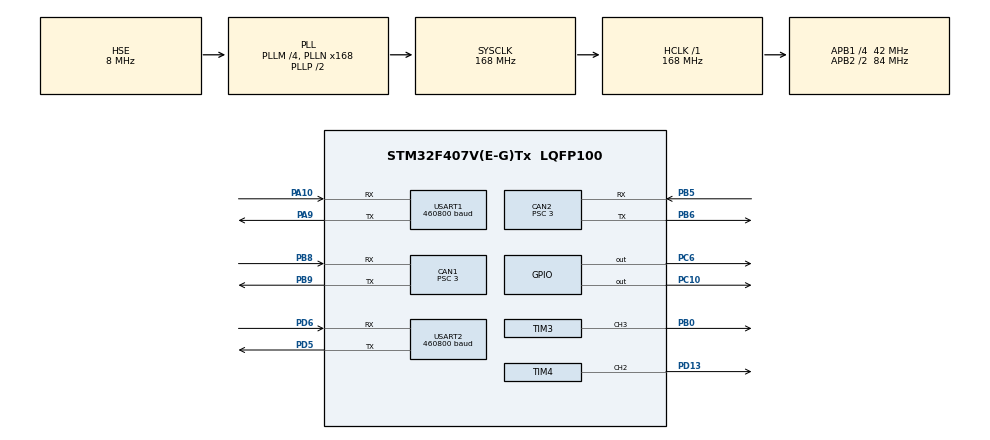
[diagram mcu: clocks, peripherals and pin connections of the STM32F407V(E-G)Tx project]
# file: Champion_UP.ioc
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CAN1.BS1=CAN_BS1_9TQ
CAN1.BS2=CAN_BS2_4TQ
CAN1.CalculateBaudRate=1000000
CAN1.CalculateTimeBit=1000
CAN1.CalculateTimeQuantum=71.42857142857143
CAN1.Prescaler=3
CAN2.BS1=CAN_BS1_9TQ
CAN2.BS2=CAN_BS2_4TQ
CAN2.CalculateBaudRate=1000000
CAN2.CalculateTimeBit=1000
CAN2.CalculateTimeQuantum=71.42857142857143
CAN2.Prescaler=3
Dma.Request0=USART1_RX
Dma.Request1=USART1_TX
Dma.Request2=USART2_RX
Dma.Request3=USART2_TX
Dma.USART1_RX.0.Direction=DMA_PERIPH_TO_MEMORY
Dma.USART1_RX.0.FIFOMode=DMA_FIFOMODE_DISABLE
Dma.USART1_RX.0.Instance=DMA2_Stream2
Dma.USART1_RX.0.MemDataAlignment=DMA_MDATAALIGN_BYTE
Dma.USART1_RX.0.MemInc=DMA_MINC_ENABLE
Dma.USART1_RX.0.Mode=DMA_NORMAL
Dma.USART1_RX.0.PeriphDataAlignment=DMA_PDATAALIGN_BYTE
Dma.USART1_RX.0.PeriphInc=DMA_PINC_DISABLE
Dma.USART1_RX.0.Priority=DMA_PRIORITY_LOW
Dma.USART1_TX.1.Direction=DMA_MEMORY_TO_PERIPH
Dma.USART1_TX.1.FIFOMode=DMA_FIFOMODE_DISABLE
Dma.USART1_TX.1.Instance=DMA2_Stream7
Dma.USART1_TX.1.MemDataAlignment=DMA_MDATAALIGN_BYTE
Dma.USART1_TX.1.MemInc=DMA_MINC_ENABLE
Dma.USART1_TX.1.Mode=DMA_NORMAL
Dma.USART1_TX.1.PeriphDataAlignment=DMA_PDATAALIGN_BYTE
Dma.USART1_TX.1.PeriphInc=DMA_PINC_DISABLE
Dma.USART1_TX.1.Priority=DMA_PRIORITY_LOW
Dma.USART2_RX.2.Direction=DMA_PERIPH_TO_MEMORY
Dma.USART2_RX.2.FIFOMode=DMA_FIFOMODE_DISABLE
Dma.USART2_RX.2.Instance=DMA1_Stream5
Dma.USART2_RX.2.MemDataAlignment=DMA_MDATAALIGN_BYTE
Dma.USART2_RX.2.MemInc=DMA_MINC_ENABLE
Dma.USART2_RX.2.Mode=DMA_NORMAL
Dma.USART2_RX.2.PeriphDataAlignment=DMA_PDATAALIGN_BYTE
Dma.USART2_RX.2.PeriphInc=DMA_PINC_DISABLE
Dma.USART2_RX.2.Priority=DMA_PRIORITY_LOW
Dma.USART2_TX.3.Direction=DMA_MEMORY_TO_PERIPH
Dma.USART2_TX.3.FIFOMode=DMA_FIFOMODE_DISABLE
Dma.USART2_TX.3.Instance=DMA1_Stream6
Dma.USART2_TX.3.MemDataAlignment=DMA_MDATAALIGN_BYTE
Dma.USART2_TX.3.MemInc=DMA_MINC_ENABLE
Dma.USART2_TX.3.Mode=DMA_NORMAL
Dma.USART2_TX.3.PeriphDataAlignment=DMA_PDATAALIGN_BYTE
Dma.USART2_TX.3.PeriphInc=DMA_PINC_DISABLE
Dma.USART2_TX.3.Priority=DMA_PRIORITY_LOW
FREERTOS.Tasks01=defaultTask,0,128,StartDefaultTask,Default,NULL,Dynamic,NULL,NULL;logic,-3,128,Logic_Task,Default,NULL,Dynamic,NULL,NULL;control,-3,128,Control_Task,Default,NULL,Dynamic,NULL,NULL;monitor,-3,128,Monitor_Task,Default,NULL,Dynamic,NULL,NULL;usartRX,-3,128,Rx_Task,Default,NULL,Dynamic,NULL,NULL;usartTX,-3,128,Tx_Task,Default,NULL,Dynamic,NULL,NULL
Mcu.Family=STM32F4
Mcu.Name=STM32F407V(E-G)Tx
Mcu.Package=LQFP100
NVIC.CAN1_RX0_IRQn=true\:5\:0\:false\:false\:true\:true\:true\:true\:true
NVIC.CAN2_RX0_IRQn=true\:5\:0\:false\:false\:true\:true\:true\:true\:true
NVIC.DMA1_Stream5_IRQn=true\:5\:0\:false\:false\:true\:true\:false\:true\:true
NVIC.DMA1_Stream6_IRQn=true\:5\:0\:false\:false\:true\:true\:false\:true\:true
NVIC.DMA2_Stream2_IRQn=true\:5\:0\:false\:false\:true\:true\:false\:true\:true
NVIC.DMA2_Stream7_IRQn=true\:5\:0\:false\:false\:true\:true\:false\:true\:true
NVIC.PriorityGroup=NVIC_PRIORITYGROUP_4
NVIC.TIM1_UP_TIM10_IRQn=true\:15\:0\:false\:false\:true\:false\:false\:true\:true
NVIC.TIM2_IRQn=true\:5\:0\:false\:false\:true\:true\:true\:true\:true
NVIC.TIM3_IRQn=true\:5\:0\:false\:false\:true\:true\:true\:true\:true
NVIC.TIM4_IRQn=true\:5\:0\:false\:false\:true\:true\:true\:true\:true
NVIC.TimeBase=TIM1_UP_TIM10_IRQn
NVIC.TimeBaseIP=TIM1
NVIC.USART1_IRQn=true\:5\:0\:false\:false\:true\:true\:false\:true\:true
NVIC.USART2_IRQn=true\:5\:0\:false\:false\:true\:true\:true\:true\:true
PA10.GPIO_PuPd=GPIO_PULLDOWN
PA10.Mode=Asynchronous
PA10.Signal=USART1_RX
PA13.Mode=Serial_Wire
PA13.Signal=SYS_JTMS-SWDIO
PA14.Mode=Serial_Wire
PA14.Signal=SYS_JTCK-SWCLK
PA9.GPIO_PuPd=GPIO_PULLUP
PA9.Mode=Asynchronous
PA9.Signal=USART1_TX
PB0.GPIO_PuPd=GPIO_PULLUP
PB0.GPIO_Speed=GPIO_SPEED_FREQ_VERY_HIGH
PB0.Signal=S_TIM3_CH3
PB5.GPIO_PuPd=GPIO_PULLUP
PB5.Mode=CAN_Activate
PB5.Signal=CAN2_RX
PB6.GPIO_PuPd=GPIO_PULLUP
PB6.Mode=CAN_Activate
PB6.Signal=CAN2_TX
PB8.GPIO_PuPd=GPIO_PULLUP
PB8.Mode=CAN_Activate
PB8.Signal=CAN1_RX
PB9.GPIO_PuPd=GPIO_PULLUP
PB9.Mode=CAN_Activate
PB9.Signal=CAN1_TX
PC10.GPIO_PuPd=GPIO_PULLUP
PC10.GPIO_Speed=GPIO_SPEED_FREQ_VERY_HIGH
PC10.PinState=GPIO_PIN_SET
PC10.Signal=GPIO_Output
PC6.GPIO_PuPd=GPIO_PULLUP
PC6.GPIO_Speed=GPIO_SPEED_FREQ_VERY_HIGH
PC6.PinState=GPIO_PIN_SET
PC6.Signal=GPIO_Output
PD13.GPIO_ModeDefaultPP=GPIO_MODE_AF_PP
PD13.GPIO_PuPd=GPIO_PULLUP
PD13.GPIO_Speed=GPIO_SPEED_FREQ_VERY_HIGH
PD13.Signal=S_TIM4_CH2
PD5.GPIO_PuPd=GPIO_PULLUP
PD5.Mode=Asynchronous
PD5.Signal=USART2_TX
PD6.GPIO_PuPd=GPIO_PULLUP
PD6.Mode=Asynchronous
PD6.Signal=USART2_RX
PH0-OSC_IN.Mode=HSE-External-Oscillator
PH0-OSC_IN.Signal=RCC_OSC_IN
PH1-OSC_OUT.Mode=HSE-External-Oscillator
PH1-OSC_OUT.Signal=RCC_OSC_OUT
ProjectManager.HeapSize=0x200
ProjectManager.StackSize=0x400
ProjectManager.TargetToolchain=MDK-ARM V5.32
RCC.48MHZClocksFreq_Value=84000000
RCC.AHBFreq_Value=168000000
RCC.APB1CLKDivider=RCC_HCLK_DIV4
RCC.APB1Freq_Value=42000000
RCC.APB1TimFreq_Value=84000000
RCC.APB2CLKDivider=RCC_HCLK_DIV2
RCC.APB2Freq_Value=84000000
RCC.APB2TimFreq_Value=168000000
RCC.CortexFreq_Value=168000000
RCC.HCLKFreq_Value=168000000
RCC.HSE_VALUE=8000000
RCC.HSI_VALUE=16000000
RCC.LSE_VALUE=32768
RCC.PLLM=4
RCC.PLLN=168
RCC.PLLSourceVirtual=RCC_PLLSOURCE_HSE
RCC.SYSCLKFreq_VALUE=168000000
RCC.SYSCLKSource=RCC_SYSCLKSOURCE_PLLCLK
RCC.VCOOutputFreq_Value=336000000
SH.S_TIM3_CH3.0=TIM3_CH3,PWM Generation3 CH3
SH.S_TIM4_CH2.0=TIM4_CH2,PWM Generation2 CH2
TIM2.Period=9999
TIM2.Prescaler=8399
TIM3.Channel-PWM\ Generation3\ CH3=TIM_CHANNEL_3
TIM3.Period=4000-1
TIM3.Prescaler=21-1
TIM4.Channel-PWM\ Generation2\ CH2=TIM_CHANNEL_2
TIM4.Period=4000-1
TIM4.Prescaler=21-1
USART1.BaudRate=460800
USART1.VirtualMode=VM_ASYNC
USART2.BaudRate=460800
USART2.VirtualMode=VM_ASYNC
VP_FREERTOS_VS_CMSIS_V1.Mode=CMSIS_V1
VP_SYS_VS_tim1.Mode=TIM1
VP_TIM2_VS_ClockSourceINT.Mode=Internal
board=custom

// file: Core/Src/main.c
/* USER CODE BEGIN Header */
/**
  ******************************************************************************
  * @file           : main.c
  * @brief          : Main program body
  ******************************************************************************
  * @attention
  *
  * Copyright (c) 2025 STMicroelectronics.
  * All rights reserved.
  *
  * This software is licensed under terms that can be found in the LICENSE file
  * in the root directory of this software component.
  * If no LICENSE file comes with this software, it is provided AS-IS.
  *
  ******************************************************************************
  */
/* USER CODE END Header */
#include "main.h"
#include "cmsis_os.h"
#include "can.h"
#include "dma.h"
#include "tim.h"
#include "usart.h"
#include "gpio.h"

/* USER CODE BEGIN Includes */
#include "robot_init.h"
/* USER CODE END Includes */

void SystemClock_Config(void);
void MX_FREERTOS_Init(void);

int main(void)
{

  /* MCU Configuration--------------------------------------------------------*/

  /* Reset of all peripherals, Initializes the Flash interface and the Systick. */
  HAL_Init();

  /* Configure the system clock */
  SystemClock_Config();

  /* Initialize all configured peripherals */
  MX_GPIO_Init();
  MX_DMA_Init();
  MX_CAN1_Init();
  MX_CAN2_Init();
  MX_USART1_UART_Init();
  MX_TIM2_Init();
  MX_TIM3_Init();
  MX_TIM4_Init();
  MX_USART2_UART_Init();
  /* USER CODE BEGIN 2 */
	Robot_Init();
  /* USER CODE END 2 */

  /* Call init function for freertos objects (in cmsis_os2.c) */
  MX_FREERTOS_Init();

  /* Start scheduler */
  osKernelStart();

  /* We should never get here as control is now taken by the scheduler */

  /* Infinite loop */
  while (1)
  {

  }
}

void SystemClock_Config(void)
{
  RCC_OscInitTypeDef RCC_OscInitStruct = {0};
  RCC_ClkInitTypeDef RCC_ClkInitStruct = {0};

  /** Configure the main internal regulator output voltage
  */
  __HAL_RCC_PWR_CLK_ENABLE();
  __HAL_PWR_VOLTAGESCALING_CONFIG(PWR_REGULATOR_VOLTAGE_SCALE1);

  /** Initializes the RCC Oscillators according to the specified parameters
  * in the RCC_OscInitTypeDef structure.
  */
  RCC_OscInitStruct.OscillatorType = RCC_OSCILLATORTYPE_HSE;
  RCC_OscInitStruct.HSEState = RCC_HSE_ON;
  RCC_OscInitStruct.PLL.PLLState = RCC_PLL_ON;
  RCC_OscInitStruct.PLL.PLLSource = RCC_PLLSOURCE_HSE;
  RCC_OscInitStruct.PLL.PLLM = 4;
  RCC_OscInitStruct.PLL.PLLN = 168;
  RCC_OscInitStruct.PLL.PLLP = RCC_PLLP_DIV2;
  RCC_OscInitStruct.PLL.PLLQ = 4;
  if (HAL_RCC_OscConfig(&RCC_OscInitStruct) != HAL_OK)
  {
    Error_Handler();
  }

  /** Initializes the CPU, AHB and APB buses clocks
  */
  RCC_ClkInitStruct.ClockType = RCC_CLOCKTYPE_HCLK|RCC_CLOCKTYPE_SYSCLK
                              |RCC_CLOCKTYPE_PCLK1|RCC_CLOCKTYPE_PCLK2;
  RCC_ClkInitStruct.SYSCLKSource = RCC_SYSCLKSOURCE_PLLCLK;
  RCC_ClkInitStruct.AHBCLKDivider = RCC_SYSCLK_DIV1;
  RCC_ClkInitStruct.APB1CLKDivider = RCC_HCLK_DIV4;
  RCC_ClkInitStruct.APB2CLKDivider = RCC_HCLK_DIV2;

  if (HAL_RCC_ClockConfig(&RCC_ClkInitStruct, FLASH_LATENCY_5) != HAL_OK)
  {
    Error_Handler();
  }
}

void HAL_TIM_PeriodElapsedCallback(TIM_HandleTypeDef *htim)
{
  if (htim->Instance == TIM1) {
    HAL_IncTick();
  }
}

void Error_Handler(void)
{
  __disable_irq();
  while (1)
  {
  }
}

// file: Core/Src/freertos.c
/* USER CODE BEGIN Header */
/**
  ******************************************************************************
  * File Name          : freertos.c
  * Description        : Code for freertos applications
  ******************************************************************************
  * @attention
  *
  * Copyright (c) 2025 STMicroelectronics.
  * All rights reserved.
  *
  * This software is licensed under terms that can be found in the LICENSE file
  * in the root directory of this software component.
  * If no LICENSE file comes with this software, it is provided AS-IS.
  *
  ******************************************************************************
  */
/* USER CODE END Header */

#include "FreeRTOS.h"
#include "task.h"
#include "main.h"
#include "cmsis_os.h"

/* USER CODE BEGIN Includes */
#include "usart.h"
#include "types.h"
#include "bsp_can.h"
#include "bsp_usart.h"
#include "can.h"
#include "pid.h"
#include "tim.h"
#include "logic.h"
#include "system_monitor.h"
#include "VOFA.h"
/* USER CODE END Includes */

/* USER CODE BEGIN PTD */
int last_state=-1;
float kp=180;
float ki=0.037;
int fuck=0;
/* USER CODE END PTD */

osThreadId defaultTaskHandle;
osThreadId logicHandle;
osThreadId controlHandle;
osThreadId monitorHandle;
osThreadId usartRXHandle;
osThreadId usartTXHandle;

void StartDefaultTask(void const * argument);
void Logic_Task(void const * argument);
void Control_Task(void const * argument);
void Monitor_Task(void const * argument);
void Rx_Task(void const * argument);
void Tx_Task(void const * argument);

void MX_FREERTOS_Init(void); /* (MISRA C 2004 rule 8.1) */

/* GetIdleTaskMemory prototype (linked to static allocation support) */
void vApplicationGetIdleTaskMemory( StaticTask_t **ppxIdleTaskTCBBuffer, StackType_t **ppxIdleTaskStackBuffer, uint32_t *pulIdleTaskStackSize );

/* USER CODE BEGIN GET_IDLE_TASK_MEMORY */
static StaticTask_t xIdleTaskTCBBuffer;
static StackType_t xIdleStack[configMINIMAL_STACK_SIZE];

void vApplicationGetIdleTaskMemory( StaticTask_t **ppxIdleTaskTCBBuffer, StackType_t **ppxIdleTaskStackBuffer, uint32_t *pulIdleTaskStackSize )
{
  *ppxIdleTaskTCBBuffer = &xIdleTaskTCBBuffer;
  *ppxIdleTaskStackBuffer = &xIdleStack[0];
  *pulIdleTaskStackSize = configMINIMAL_STACK_SIZE;
  /* place for user code */
}
/* USER CODE END GET_IDLE_TASK_MEMORY */

void MX_FREERTOS_Init(void) {

  /* Create the thread(s) */
  /* definition and creation of defaultTask */
  osThreadDef(defaultTask, StartDefaultTask, osPriorityNormal, 0, 128);
  defaultTaskHandle = osThreadCreate(osThread(defaultTask), NULL);

  /* definition and creation of logic */
  osThreadDef(logic, Logic_Task, osPriorityIdle, 0, 128);
  logicHandle = osThreadCreate(osThread(logic), NULL);

  /* definition and creation of control */
  osThreadDef(control, Control_Task, osPriorityIdle, 0, 128);
  controlHandle = osThreadCreate(osThread(control), NULL);

  /* definition and creation of monitor */
  osThreadDef(monitor, Monitor_Task, osPriorityIdle, 0, 128);
  monitorHandle = osThreadCreate(osThread(monitor), NULL);

  /* definition and creation of usartRX */
  osThreadDef(usartRX, Rx_Task, osPriorityHigh, 0, 256);
  usartRXHandle = osThreadCreate(osThread(usartRX), NULL);

  /* definition and creation of usartTX */
  osThreadDef(usartTX, Tx_Task, osPriorityIdle, 0, 256);
  usartTXHandle = osThreadCreate(osThread(usartTX), NULL);

}

void StartDefaultTask(void const * argument)
{
  /* USER CODE BEGIN StartDefaultTask */
  /* Infinite loop */
  for(;;)
  {
		Usart_Control(&command0,usart1_rx_buff);
		vTaskDelay(pdMS_TO_TICKS(5));
  }
  /* USER CODE END StartDefaultTask */
}

void Logic_Task(void const * argument)
{
  /* USER CODE BEGIN Logic_Task */
  /* Infinite loop */
  for(;;)
  {
		Logic(command0);
		system_monitor.rate_cnt.freertos_logic++;
		vTaskDelay(pdMS_TO_TICKS(1));
  }
  /* USER CODE END Logic_Task */
}

void Control_Task(void const * argument)
{
  /* USER CODE BEGIN Control_Task */
  /* Infinite loop */
  for(;;)
  {
		pid_bounce_left.fpDes=desv_bounce_left;
		pid_bounce_left.fpFB=motor_bounce_left.anglev;
		PID_Calc(&pid_bounce_left);

		pid_bounce_right.fpDes=desv_bounce_right;
		pid_bounce_right.fpFB=motor_bounce_right.anglev;
		PID_Calc(&pid_bounce_right);

		pid_rotate.outer.fpDes=TD_END(&td_rotate,des_rotate);
		pid_rotate.outer.fpFB=motor_rotate.angle;
		pid_rotate.inner.fpFB=motor_rotate.anglev;
		PID_Calc_DualLoop(&pid_rotate);

		td_shot.aim=des_shot;
		CalTD(&td_shot);

		switch(state_shot)
		{
			case 0:
			if(last_state!=0)
			{
				pid_shot_mod.fpSumE=0;
			}
			pid_shot_mod.fpKp=kp;
			pid_shot_mod.fpKi=ki;
			pid_shot_mod.fpDes=desv_shot;
				pid_shot_mod.fpFB=motor_shot_up.anglev;
				PID_Calc(&pid_shot_mod);
				CAN_SendCurrent(&hcan1,0x200,pid_shot_mod.fpU-800,pid_shot_mod.fpU-800,0,0);
				last_state=0;
				break;
			case 1:
			if(last_state!=1)
			{
				pid_shot.outer.fpSumE=0;
				pid_shot.inner.fpSumE=0;
			}
				pid_shot.outer.fpDes=des_shot;
				pid_shot.outer.fpFB=motor_shot_up.angle;
				pid_shot.inner.fpFB=motor_shot_up.anglev;
				PID_Calc_DualLoop(&pid_shot);
				CAN_SendCurrent(&hcan1,0x200,pid_shot.output-300,pid_shot.output-300,0,0);
				last_state=1;
				break;
			case 2:
				if(last_state!=2)
				{
				pid_shot.outer.fpSumE=0;
				pid_shot.inner.fpSumE=0;
				}
				pid_shot.outer.fpDes=td_shot.x1;
				pid_shot.outer.fpFB=motor_shot_up.angle;
				pid_shot.inner.fpFB=motor_shot_up.anglev;
				PID_Calc_DualLoop(&pid_shot);
		  	CAN_SendCurrent(&hcan1,0x200,pid_shot.output-300,pid_shot.output-300,0,0);
				last_state=2;
				break;
			case 3:
			if(last_state!=3)
			{
				pid_shot_mod.fpSumE=0;
			}
				pid_shot_mod.fpDes=desv_shot;
				pid_shot_mod.fpKp=160;
				pid_shot_mod.fpKi=0.6;
				pid_shot_mod.fpFB=motor_shot_up.anglev;
				PID_Calc(&pid_shot_mod);
				CAN_SendCurrent(&hcan1,0x200,pid_shot_mod.fpU,pid_shot_mod.fpU,0,0);
				last_state=3;
				break;
			default:
				break;
		}
		CAN_SendCurrent(&hcan2,0x200,pid_rotate.output,pid_bounce_right.fpU,pid_bounce_left.fpU,0);
		SendSwitchValue(desq_catch,desq_danger,desq_defense);//气缸
		system_monitor.rate_cnt.freertos_control++;
		vTaskDelay(pdMS_TO_TICKS(1));
  }
  /* USER CODE END Control_Task */
}

void Monitor_Task(void const * argument)
{
  /* USER CODE BEGIN Monitor_Task */
  /* Infinite loop */
  for(;;)
  {
		System_Monitor(&system_monitor);
		vTaskDelay(pdMS_TO_TICKS(1));
  }
  /* USER CODE END Monitor_Task */
}

void Rx_Task(void const * argument)
{
  /* USER CODE BEGIN Rx_Task */
  /* Infinite loop */
  for(;;)
  {

		usart1_tx_buff[0]=0x66;
		usart1_tx_buff[1]=0x88;
		usart1_tx_buff[2]=0;
		usart1_tx_buff[3]=0;
		for (int i = 0; i < 8; i++) {
        usart1_tx_buff[2] |= (*(&system_monitor.system_error.motor_pitch+i) << (7 - i));
    }
    for (int i = 8; i < 12; i++) {
        usart1_tx_buff[3] |= (*(&system_monitor.system_error.motor_pitch+i) << (15 - i));
    }
		usart1_tx_buff[4]=0;
		usart1_tx_buff[5]=0;
		usart1_tx_buff[6]=0;
		usart1_tx_buff[7]=0;
		usart1_tx_buff[8]=0;
		usart1_tx_buff[9]=0;
		usart1_tx_buff[10]=0;
		usart1_tx_buff[11]=0;
		usart1_tx_buff[12]=0;
		usart1_tx_buff[4]= flag_init;
		usart1_tx_buff[5]=flag_start;
		usart1_tx_buff[6]= flag_bounce;
		usart1_tx_buff[7]= flag_lay;
		usart1_tx_buff[8]= flag_aim;
		usart1_tx_buff[9]= flag_shot;
		usart1_tx_buff[10]= flag_out;
		usart1_tx_buff[11]= flag_danger;
		usart1_tx_buff[12]=flag_protect;
		uint16_t crc = crc16(&usart1_tx_buff[2], 20);
		usart1_tx_buff[22] = crc & 0xFF;       // 低字节
		usart1_tx_buff[23] = (crc >> 8) & 0xFF; // 高字节
		usart1_tx_buff[24]= 0xFF;
		HAL_UART_Transmit_DMA(&huart1,usart1_tx_buff,sizeof(usart1_tx_buff));
		system_monitor.rate_cnt.freertos_rx++;
		vTaskDelay(pdMS_TO_TICKS(5));
  }
  /* USER CODE END Rx_Task */
}

void Tx_Task(void const * argument)
{
  /* USER CODE BEGIN Tx_Task */
  /* Infinite loop */
  for(;;)
  {

		DC_Montor(des_pitch,fb_pitch,&pid_pitch);

		vofa_data.ch_data[0] = des_pitch;
		vofa_data.ch_data[1] = fb_pitch;
		vofa_data.ch_data[2] = pid_shot.outer.fpDes;
		vofa_data.ch_data[3] = pid_shot.outer.fpFB;
		vofa_data.ch_data[4] = pid_shot.inner.fpDes;
		vofa_data.ch_data[5] = pid_shot.inner.fpFB;
		vofa_data.ch_data[6] = pid_shot_mod.fpDes;
		vofa_data.ch_data[7] = pid_shot_mod.fpFB;
		vofa_data.ch_data[8]= flag_init;
		vofa_data.ch_data[9]=flag_start;
		vofa_data.ch_data[10]= flag_bounce;
		vofa_data.ch_data[11]= flag_lay;
		vofa_data.ch_data[12]= flag_aim;
		vofa_data.ch_data[13]= flag_shot;
		vofa_data.ch_data[14]= step_init;
		vofa_data.ch_data[15]=step_start;
		vofa_data.ch_data[16]= step_bounce;
		vofa_data.ch_data[17]= step_lay;
		vofa_data.ch_data[18]= step_aim;
		vofa_data.ch_data[19]= step_shot;

	  VOFA_transmit_data(vofa_data.ch_data , 15);
		system_monitor.rate_cnt.freertos_tx++;
		vTaskDelay(pdMS_TO_TICKS(1));
  }
  /* USER CODE END Tx_Task */
}
